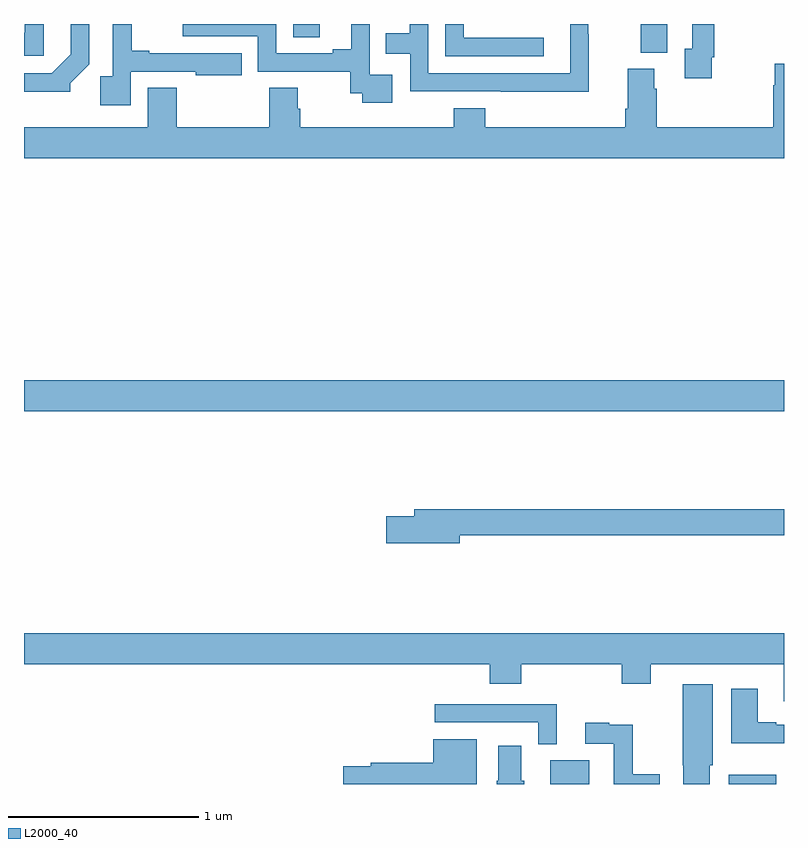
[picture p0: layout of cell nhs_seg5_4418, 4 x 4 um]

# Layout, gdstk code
import gdstk
lib = gdstk.Library(unit=1e-6, precision=1e-09)
def R(c, l, rs):  # rectangles x0, y0, x1, y1
    for r in rs: c.add(gdstk.rectangle(r[:2], r[2:], *l))
def P(c, l, *ps):  # polygons
    for p in ps: c.add(gdstk.Polygon(p, *l))
L2000_40 = (2000, 40)

nhs_seg5_4418 = lib.new_cell('nhs_seg5_4418')
R(nhs_seg5_4418, L2000_40, [(373.769,854.799,373.975,854.923), (374.708,854.799,374.959,854.848), (371,856.76,375,856.924), (374.246,858.649,374.386,858.799), (372.416,858.73,372.556,858.799)])
P(nhs_seg5_4418, L2000_40, [(373.735,858.726),(373.314,858.726),(373.314,858.799),(373.218,858.799),(373.218,858.63),(373.735,858.63)],
  [(372.937,858.531),(372.819,858.531),(372.819,858.799),(372.722,858.799),(372.722,858.665),(372.626,858.665),(372.626,858.645),(372.327,858.645),(372.327,858.799),(371.836,858.799),(371.836,858.735),(372.231,858.735),(372.231,858.549),(372.718,858.549),(372.718,858.435),(372.781,858.435),(372.781,858.384),(372.937,858.384)],
  [(373.973,858.746),(373.971,858.746),(373.971,858.799),(373.875,858.799),(373.875,858.54),(373.128,858.54),(373.128,858.799),(373.031,858.799),(373.031,858.751),(372.904,858.751),(372.904,858.642),(373.032,858.642),(373.032,858.444),(373.51,858.444),(373.51,858.443),(373.973,858.443)],
  [(371.104,858.799),(371.005,858.799),(371.005,858.753),(371,858.753),(371,858.633),(371.104,858.633)],
  [(371.562,858.549),(371.903,858.549),(371.903,858.53),(372.146,858.53),(372.146,858.645),(371.659,858.645),(371.659,858.658),(371.567,858.658),(371.567,858.799),(371.466,858.799),(371.466,858.523),(371.401,858.523),(371.401,858.372),(371.562,858.372)],
  [(371.244,858.487),(371.343,858.586),(371.343,858.799),(371.246,858.799),(371.246,858.641),(371.145,858.54),(371,858.54),(371,858.443),(371.244,858.443)],
  [(374.621,858.625),(374.633,858.625),(374.633,858.799),(374.517,858.799),(374.517,858.669),(374.477,858.669),(374.477,858.513),(374.621,858.513)],
  [(375,858.589),(374.952,858.589),(374.952,858.476),(374.944,858.476),(374.944,858.256),(374.33,858.256),(374.33,858.458),(374.317,858.458),(374.317,858.564),(374.177,858.564),(374.177,858.352),(374.165,858.352),(374.165,858.256),(373.427,858.256),(373.427,858.355),(373.262,858.355),(373.262,858.256),(372.455,858.256),(372.455,858.354),(372.442,858.354),(372.442,858.464),(372.29,858.464),(372.29,858.256),(371.804,858.256),(371.804,858.464),(371.651,858.464),(371.651,858.256),(371,858.256),(371,858.092),(375,858.092)],
  [(373.294,856.108),(375,856.108),(375,856.244),(373.055,856.244),(373.055,856.208),(372.906,856.208),(372.906,856.066),(373.294,856.066)],
  [(375,855.592),(371,855.592),(371,855.428),(373.451,855.428),(373.451,855.326),(373.616,855.326),(373.616,855.428),(374.147,855.428),(374.147,855.326),(374.299,855.326),(374.299,855.428),(374.999,855.428),(374.999,855.234),(375,855.234)],
  [(374.608,854.898),(374.626,854.898),(374.626,855.325),(374.468,855.325),(374.468,854.898),(374.471,854.898),(374.471,854.799),(374.608,854.799)],
  [(375,855.111),(374.959,855.111),(374.959,855.124),(374.863,855.124),(374.863,855.301),(374.723,855.301),(374.723,855.014),(375,855.014)],
  [(373.804,855.219),(373.161,855.219),(373.161,855.123),(373.707,855.123),(373.707,855.008),(373.804,855.008)],
  [(374.347,854.85),(374.204,854.85),(374.204,855.11),(374.081,855.11),(374.081,855.121),(373.953,855.121),(373.953,855.012),(374.103,855.012),(374.103,854.799),(374.347,854.799)],
  [(373.384,855.034),(373.154,855.034),(373.154,854.912),(372.826,854.912),(372.826,854.892),(372.68,854.892),(372.68,854.799),(373.384,854.799)],
  [(373.633,854.817),(373.618,854.817),(373.618,855.001),(373.496,855.001),(373.496,854.817),(373.487,854.817),(373.487,854.799),(373.633,854.799)])

lib.write_gds('nhs_seg5_4418.gds')
